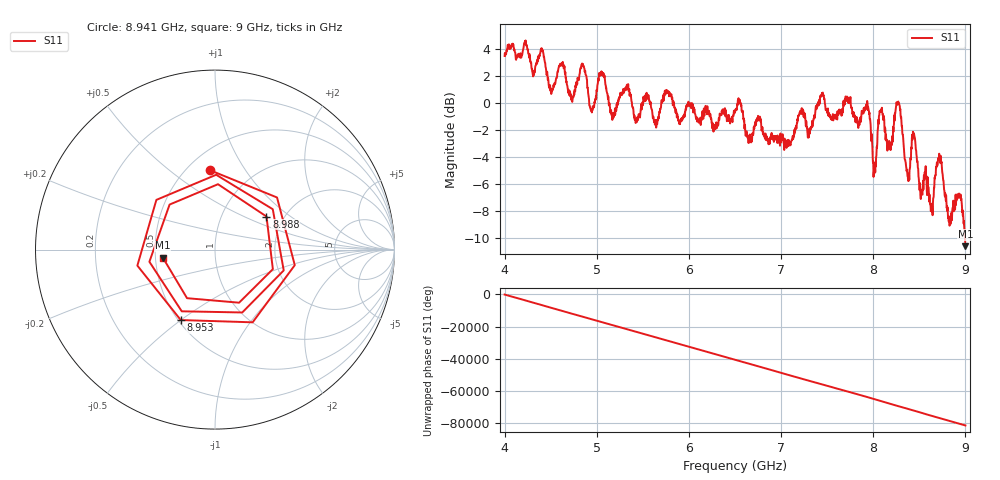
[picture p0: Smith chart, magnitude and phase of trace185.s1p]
! Created with skrf 1.8.0 (http://scikit-rf.org).
# Hz S RI R 50.0
!freq ReS11 ImS11
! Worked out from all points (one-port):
!   1601 points, 4 GHz to 9 GHz, reference 50 ohm
!   lowest |S11| = -10.6 dB at 9 GHz (marker M1), VSWR 1.83, Z = 27.4 - j2.68 ohm
!   |S11| at or under -10 dB: 8.996052 GHz to end of sweep
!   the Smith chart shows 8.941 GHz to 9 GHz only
!   S11 on the Smith chart (normalised r, x): 8.941 GHz: 0.64, +0.71; 8.953 GHz: 0.52, -0.50; 8.988 GHz: 1.63, +0.68; 9 GHz: 0.55, -0.05
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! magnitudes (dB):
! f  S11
! 4 GHz  3.5
! 4.406 GHz  4.0
! 4.503 GHz  0.9
! 4.625 GHz  2.9
! 4.725 GHz  0.2
! 4.853 GHz  2.7
! 4.944 GHz  -0.5
! 5.05 GHz  2.3
! 5.169 GHz  -1.3
! 5.25 GHz  0.4
! 5.875 GHz  -0.9
! 6.5 GHz  -0.6
! 7.125 GHz  -2.5
! 7.75 GHz  0.3
! 7.941 GHz  -0.5
! 8.016 GHz  -5.2
! 8.081 GHz  -0.5
! 8.178 GHz  -3.4
! 8.269 GHz  0.1
! 8.375 GHz  -5.4
! 8.438 GHz  -2.2
! 8.628 GHz  -7.8
! 8.716 GHz  -3.8
! 8.828 GHz  -9.1
! 8.941 GHz  -7.1
! 8.953 GHz  -7.2
! 8.988 GHz  -9.3
! 9 GHz  -10.6
